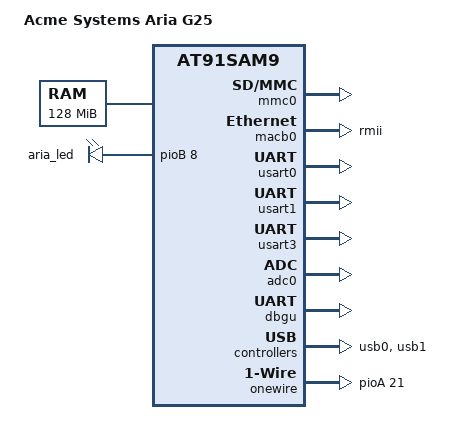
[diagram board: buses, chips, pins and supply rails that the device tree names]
/*
 * at91-ariag25.dts - Device Tree file for Acme Systems Aria G25 (AT91SAM9G25 based)
 *
 * Copyright (C) 2013 Douglas Gilbert <dgilbert@interlog.com>,
 *                    Robert Nelson <robertcnelson@gmail.com>
 *
 * Licensed under GPLv2 or later.
 */
/dts-v1/;
#include "at91sam9g25.dtsi"
#include "at91sam9x5_usart3.dtsi"   

/ {
	model = "Acme Systems Aria G25";
	compatible = "acme,ariag25", "atmel,at91sam9x5", "atmel,at91sam9";

	aliases {
		serial0 = &dbgu;
	};

	chosen {
		stdout-path = "serial0:115200n8";
	};

	memory {
		/* 128 MB, change this for 256 MB revision */
		reg = <0x20000000 0x8000000>;
	};

	clocks {
		slow_xtal {
			clock-frequency = <32768>;
		};

		main_xtal {
			clock-frequency = <12000000>;
		};
	};

	ahb {
		apb {
			mmc0: mmc@f0008000 {
				pinctrl-0 = <
					&pinctrl_mmc0_slot0_clk_cmd_dat0
					&pinctrl_mmc0_slot0_dat1_3>;
				status = "okay";
				slot@0 {
					reg = <0>;
					bus-width = <4>;
				};
			};

			tcb0: timer@f8008000 {
				timer@0 {
					compatible = "atmel,tcb-timer";
					reg = <0>;
				};

				timer@1 {
					compatible = "atmel,tcb-timer";
					reg = <1>;
				};
			};

			macb0: ethernet@f802c000 {
				phy-mode = "rmii";
				/*
				 * following can be overwritten by bootloader:
				 * for example u-boot 'ftd set' command
				 */
				local-mac-address = [00 00 00 00 00 00];
				status = "okay";
			};

			/*
			 * UART0/1 pins are marked as GPIO on
			 * Aria documentation.
			 * Change to "okay" if you need additional serial ports
			 */
			uart0: serial@f8040000 {
				status = "disabled";
			};

			uart1: serial@f8044000 {
				status = "disabled";
			};

			/* /dev/ttyS1 */

			usart0: serial@f801c000 {
				pinctrl-0 = <&pinctrl_usart0 &pinctrl_usart0_rts &pinctrl_usart0_cts>;
				linux,rs485-enabled-at-boot-time;
				rs485-rts-delay = <2 20>;
				status = "okay";
			};

			/* /dev/ttyS2 */

			usart1: serial@f8020000 {
				pinctrl-0 = <&pinctrl_usart1 &pinctrl_usart1_rts &pinctrl_usart1_cts>; 
				linux,rs485-enabled-at-boot-time;
				rs485-rts-delay = <2 20>;
				status = "okay";
			};

			/* /dev/ttyS4 */

			usart3: serial@f8028000 {
				pinctrl-0 = <&pinctrl_usart3 &pinctrl_usart3_rts>;
				linux,rs485-enabled-at-boot-time;
				rs485-rts-delay = <0 20>;
				status = "okay";
			};

			adc0: adc@f804c000 {
				status = "okay";
				atmel,adc-channels-used = <0xf>;
			};

			dbgu: serial@fffff200 {
				status = "okay";
			};

			pinctrl@fffff400 {
				w1_0 {
					pinctrl_w1_0: w1_0-0 {
						atmel,pins = <0 21 0x0 0x1>; /* PA21 PIO, pull-up */
					};
				};
			};

			rtc@fffffeb0 {
				status = "okay";
			};
		};

		usb0: ohci@600000 {
			status = "okay";
			num-ports = <3>;
		};

		usb1: ehci@700000 {
			status = "okay";
		};
	};

	leds {
		compatible = "gpio-leds";

		/* little green LED in middle of Aria G25 module */
		aria_led {
			label = "aria_led";
			gpios = <&pioB 8 GPIO_ACTIVE_HIGH>; /* PB8 */
			linux,default-trigger = "heartbeat";
		};

	};

	onewire {
		compatible = "w1-gpio";
		gpios = <&pioA 21 GPIO_ACTIVE_LOW>;
		pinctrl-names = "default";
		pinctrl-0 = <&pinctrl_w1_0>;
	};
};
